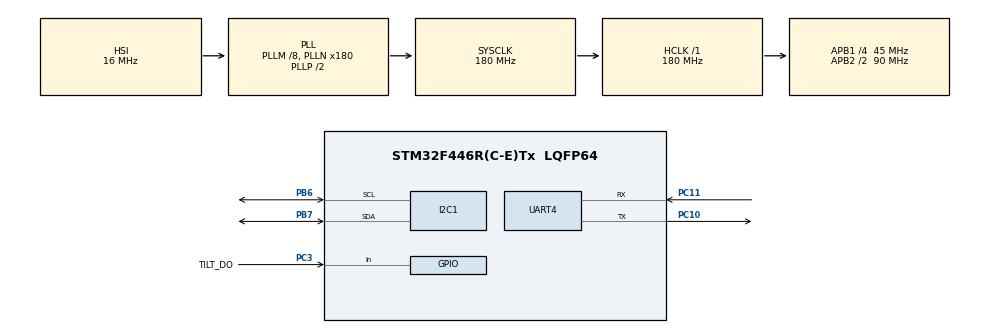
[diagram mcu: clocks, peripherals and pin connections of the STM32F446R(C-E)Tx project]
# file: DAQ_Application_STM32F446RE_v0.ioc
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Mcu.Family=STM32F4
Mcu.Name=STM32F446R(C-E)Tx
Mcu.Package=LQFP64
NVIC.PriorityGroup=NVIC_PRIORITYGROUP_4
NVIC.RCC_IRQn=true\:0\:0\:false\:false\:true\:true\:false\:true
PB6.Mode=I2C
PB6.Signal=I2C1_SCL
PB7.Mode=I2C
PB7.Signal=I2C1_SDA
PC10.Mode=Asynchronous
PC10.Signal=UART4_TX
PC11.Mode=Asynchronous
PC11.Signal=UART4_RX
PC14-OSC32_IN.Mode=LSE-External-Oscillator
PC14-OSC32_IN.Signal=RCC_OSC32_IN
PC15-OSC32_OUT.Mode=LSE-External-Oscillator
PC15-OSC32_OUT.Signal=RCC_OSC32_OUT
PC3.GPIO_Label=TILT_DO
PC3.Signal=GPIO_Input
PH0-OSC_IN.Mode=HSE-External-Oscillator
PH0-OSC_IN.Signal=RCC_OSC_IN
PH1-OSC_OUT.Mode=HSE-External-Oscillator
PH1-OSC_OUT.Signal=RCC_OSC_OUT
ProjectManager.HeapSize=0x200
ProjectManager.StackSize=0x400
ProjectManager.TargetToolchain=STM32CubeIDE
RCC.AHBFreq_Value=180000000
RCC.APB1CLKDivider=RCC_HCLK_DIV4
RCC.APB1Freq_Value=45000000
RCC.APB1TimFreq_Value=90000000
RCC.APB2CLKDivider=RCC_HCLK_DIV2
RCC.APB2Freq_Value=90000000
RCC.APB2TimFreq_Value=180000000
RCC.CortexFreq_Value=180000000
RCC.HCLKFreq_Value=180000000
RCC.HSE_VALUE=8000000
RCC.PLLM=8
RCC.PLLN=180
RCC.SYSCLKFreq_VALUE=180000000
RCC.SYSCLKSource=RCC_SYSCLKSOURCE_PLLCLK
RCC.USBFreq_Value=180000000
RCC.VCOOutputFreq_Value=360000000
UART4.VirtualMode=Asynchronous
board=custom

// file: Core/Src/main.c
/* USER CODE BEGIN Header */
/**
  ******************************************************************************
  * @file           : main.c
  * @brief          : Main program body
  ******************************************************************************
  * @attention
  *
  * Copyright (c) 2023 STMicroelectronics.
  * All rights reserved.
  *
  * This software is licensed under terms that can be found in the LICENSE file
  * in the root directory of this software component.
  * If no LICENSE file comes with this software, it is provided AS-IS.
  *
  ******************************************************************************
  */
/* USER CODE END Header */
#include "main.h"

/* USER CODE BEGIN Includes */
#include "mpu6050.h"
#include "stdbool.h"
#include "string.h"
/* USER CODE END Includes */

I2C_HandleTypeDef hi2c1;

UART_HandleTypeDef huart4;

/* USER CODE BEGIN PV */
///MPU9250
float Ax, Ay, Az, Gx, Gy, Gz;

uint8_t err_gyro = 0;

///Tilt sensor
bool tilt_state = 0;

uint8_t daqtelemetry_buffer[128];

/* USER CODE END PV */

void SystemClock_Config(void);
static void MX_GPIO_Init(void);
static void MX_I2C1_Init(void);
static void MX_UART4_Init(void);

int main(void)
{

  /* MCU Configuration--------------------------------------------------------*/

  /* Reset of all peripherals, Initializes the Flash interface and the Systick. */
  HAL_Init();

  /* Configure the system clock */
  SystemClock_Config();

  /* Initialize all configured peripherals */
  MX_GPIO_Init();
  MX_I2C1_Init();
  MX_UART4_Init();
  /* USER CODE BEGIN 2 */
  MPU6050_Init();
  /* USER CODE END 2 */

  /* Infinite loop */
  while (1)
  {

    /* USER CODE BEGIN 3 */
	  MPU6050_Read_Accel (&Ax, &Ay, &Az);
	  MPU6050_Read_Gyro(&Gx, &Gy, &Gz);
	  tilt_state = !HAL_GPIO_ReadPin(TILT_DO_GPIO_Port, TILT_DO_Pin);

//	  uint16_t ax = (uint16_t)Ax;
//	  uint16_t ay = (uint16_t)Ay;
//	  uint16_t az = (uint16_t)Az;
//	  uint16_t gx = (uint16_t)Gx;
//	  uint16_t gy = (uint16_t)Gy;
//	  uint16_t gz = (uint16_t)Gz;

	  daqtelemetry_buffer[0]=0x24;

	  memcpy(daqtelemetry_buffer+1,&Ax,4);
	  memcpy(daqtelemetry_buffer+1+4,&Ay,4);
	  memcpy(daqtelemetry_buffer+1+4+4,&Az,4);
	  memcpy(daqtelemetry_buffer+1+4+4+4,&Gx,4);
	  memcpy(daqtelemetry_buffer+1+4+4+4+4,&Gy,4);
	  memcpy(daqtelemetry_buffer+1+4+4+4+4+4,&Gz,4);
	  memcpy(daqtelemetry_buffer+1+4+4+4+4+4+1,&tilt_state,1);

	  daqtelemetry_buffer[1+4+4+4+4+4+1+1] = 0x0D;
	  daqtelemetry_buffer[1+4+4+4+4+4+1+1+1] = 0x0A;

	  HAL_UART_Transmit(&huart4, &daqtelemetry_buffer, 25, 100);

	  HAL_Delay(5);

  }
  /* USER CODE END 3 */
}

void SystemClock_Config(void)
{
  RCC_OscInitTypeDef RCC_OscInitStruct = {0};
  RCC_ClkInitTypeDef RCC_ClkInitStruct = {0};

  /** Configure the main internal regulator output voltage
  */
  __HAL_RCC_PWR_CLK_ENABLE();
  __HAL_PWR_VOLTAGESCALING_CONFIG(PWR_REGULATOR_VOLTAGE_SCALE1);

  /** Initializes the RCC Oscillators according to the specified parameters
  * in the RCC_OscInitTypeDef structure.
  */
  RCC_OscInitStruct.OscillatorType = RCC_OSCILLATORTYPE_HSI;
  RCC_OscInitStruct.HSIState = RCC_HSI_ON;
  RCC_OscInitStruct.HSICalibrationValue = RCC_HSICALIBRATION_DEFAULT;
  RCC_OscInitStruct.PLL.PLLState = RCC_PLL_ON;
  RCC_OscInitStruct.PLL.PLLSource = RCC_PLLSOURCE_HSI;
  RCC_OscInitStruct.PLL.PLLM = 8;
  RCC_OscInitStruct.PLL.PLLN = 180;
  RCC_OscInitStruct.PLL.PLLP = RCC_PLLP_DIV2;
  RCC_OscInitStruct.PLL.PLLQ = 2;
  RCC_OscInitStruct.PLL.PLLR = 2;
  if (HAL_RCC_OscConfig(&RCC_OscInitStruct) != HAL_OK)
  {
    Error_Handler();
  }

  /** Activate the Over-Drive mode
  */
  if (HAL_PWREx_EnableOverDrive() != HAL_OK)
  {
    Error_Handler();
  }

  /** Initializes the CPU, AHB and APB buses clocks
  */
  RCC_ClkInitStruct.ClockType = RCC_CLOCKTYPE_HCLK|RCC_CLOCKTYPE_SYSCLK
                              |RCC_CLOCKTYPE_PCLK1|RCC_CLOCKTYPE_PCLK2;
  RCC_ClkInitStruct.SYSCLKSource = RCC_SYSCLKSOURCE_PLLCLK;
  RCC_ClkInitStruct.AHBCLKDivider = RCC_SYSCLK_DIV1;
  RCC_ClkInitStruct.APB1CLKDivider = RCC_HCLK_DIV4;
  RCC_ClkInitStruct.APB2CLKDivider = RCC_HCLK_DIV2;

  if (HAL_RCC_ClockConfig(&RCC_ClkInitStruct, FLASH_LATENCY_5) != HAL_OK)
  {
    Error_Handler();
  }
}

static void MX_I2C1_Init(void)
{

  hi2c1.Instance = I2C1;
  hi2c1.Init.ClockSpeed = 100000;
  hi2c1.Init.DutyCycle = I2C_DUTYCYCLE_2;
  hi2c1.Init.OwnAddress1 = 0;
  hi2c1.Init.AddressingMode = I2C_ADDRESSINGMODE_7BIT;
  hi2c1.Init.DualAddressMode = I2C_DUALADDRESS_DISABLE;
  hi2c1.Init.OwnAddress2 = 0;
  hi2c1.Init.GeneralCallMode = I2C_GENERALCALL_DISABLE;
  hi2c1.Init.NoStretchMode = I2C_NOSTRETCH_DISABLE;
  if (HAL_I2C_Init(&hi2c1) != HAL_OK)
  {
    Error_Handler();
  }

}

static void MX_UART4_Init(void)
{

  huart4.Instance = UART4;
  huart4.Init.BaudRate = 115200;
  huart4.Init.WordLength = UART_WORDLENGTH_8B;
  huart4.Init.StopBits = UART_STOPBITS_1;
  huart4.Init.Parity = UART_PARITY_NONE;
  huart4.Init.Mode = UART_MODE_TX_RX;
  huart4.Init.HwFlowCtl = UART_HWCONTROL_NONE;
  huart4.Init.OverSampling = UART_OVERSAMPLING_16;
  if (HAL_UART_Init(&huart4) != HAL_OK)
  {
    Error_Handler();
  }

}

static void MX_GPIO_Init(void)
{
  GPIO_InitTypeDef GPIO_InitStruct = {0};

  /* GPIO Ports Clock Enable */
  __HAL_RCC_GPIOC_CLK_ENABLE();
  __HAL_RCC_GPIOH_CLK_ENABLE();
  __HAL_RCC_GPIOB_CLK_ENABLE();

  /*Configure GPIO pin : TILT_DO_Pin */
  GPIO_InitStruct.Pin = TILT_DO_Pin;
  GPIO_InitStruct.Mode = GPIO_MODE_INPUT;
  GPIO_InitStruct.Pull = GPIO_NOPULL;
  HAL_GPIO_Init(TILT_DO_GPIO_Port, &GPIO_InitStruct);

}

/* USER CODE BEGIN 4 */
int _write(int file, char *ptr, int len)
{
	int DataIdx;

	for (DataIdx = 0; DataIdx < len; DataIdx++)
	{
		ITM_SendChar(*ptr++);
	}
	return len;
}
/* USER CODE END 4 */

void Error_Handler(void)
{
  __disable_irq();
  while (1)
  {
  }
}
